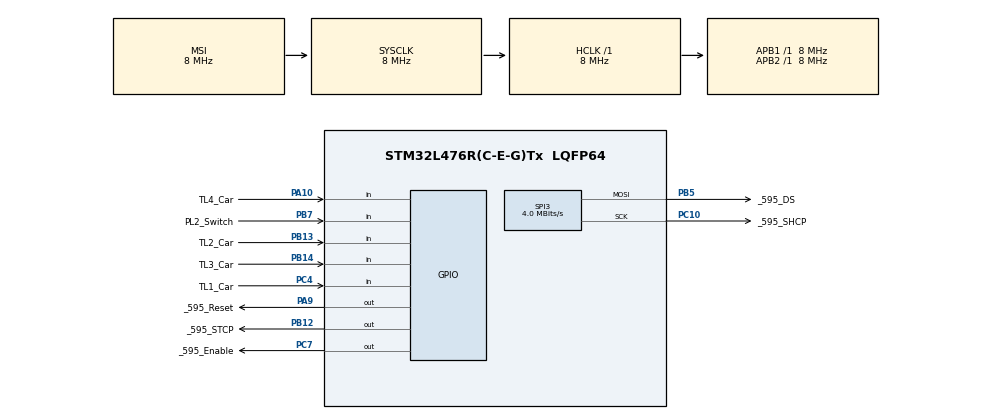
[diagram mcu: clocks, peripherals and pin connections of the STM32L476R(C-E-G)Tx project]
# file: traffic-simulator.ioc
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Mcu.Family=STM32L4
Mcu.Name=STM32L476R(C-E-G)Tx
Mcu.Package=LQFP64
NVIC.PriorityGroup=NVIC_PRIORITYGROUP_4
PA10.GPIO_Label=TL4_Car
PA10.Signal=GPIO_Input
PA13\ (JTMS-SWDIO).Mode=Serial_Wire
PA13\ (JTMS-SWDIO).Signal=SYS_JTMS-SWDIO
PA14\ (JTCK-SWCLK).Mode=Serial_Wire
PA14\ (JTCK-SWCLK).Signal=SYS_JTCK-SWCLK
PA9.GPIO_Label=_595_Reset
PA9.Signal=GPIO_Output
PB12.GPIO_Label=_595_STCP
PB12.Signal=GPIO_Output
PB13.GPIO_Label=TL2_Car
PB13.GPIO_PuPd=GPIO_NOPULL
PB13.Signal=GPIO_Input
PB14.GPIO_Label=TL3_Car
PB14.Signal=GPIO_Input
PB5.GPIO_Label=_595_DS
PB5.GPIO_Speed=GPIO_SPEED_FREQ_MEDIUM
PB5.Mode=TX_Only_Simplex_Unidirect_Master
PB5.Signal=SPI3_MOSI
PB7.GPIO_Label=PL2_Switch
PB7.GPIO_PuPd=GPIO_PULLUP
PB7.Signal=GPIO_Input
PC10.GPIO_Label=_595_SHCP
PC10.GPIO_Speed=GPIO_SPEED_FREQ_MEDIUM
PC10.Mode=TX_Only_Simplex_Unidirect_Master
PC10.Signal=SPI3_SCK
PC4.GPIO_Label=TL1_Car
PC4.GPIO_PuPd=GPIO_NOPULL
PC4.Signal=GPIO_Input
PC7.GPIO_Label=_595_Enable
PC7.Signal=GPIO_Output
PH0-OSC_IN\ (PH0).Mode=HSE-External-Oscillator
PH0-OSC_IN\ (PH0).Signal=RCC_OSC_IN
PH1-OSC_OUT\ (PH1).Mode=HSE-External-Oscillator
PH1-OSC_OUT\ (PH1).Signal=RCC_OSC_OUT
ProjectManager.HeapSize=0x200
ProjectManager.StackSize=0x400
ProjectManager.TargetToolchain=STM32CubeIDE
RCC.ADCFreq_Value=32000000
RCC.AHBFreq_Value=8000000
RCC.APB1Freq_Value=8000000
RCC.APB1TimFreq_Value=8000000
RCC.APB2Freq_Value=8000000
RCC.APB2TimFreq_Value=8000000
RCC.CortexFreq_Value=8000000
RCC.HCLKFreq_Value=8000000
RCC.HSE_VALUE=8000000
RCC.HSI_VALUE=16000000
RCC.LSE_VALUE=32768
RCC.MSIClockRange=RCC_MSIRANGE_7
RCC.MSI_VALUE=8000000
RCC.SYSCLKFreq_VALUE=8000000
RCC.USBFreq_Value=32000000
RCC.VCOOutputFreq_Value=64000000
SPI3.CalculateBaudRate=4.0 MBits/s
SPI3.Direction=SPI_DIRECTION_2LINES
SPI3.Mode=SPI_MODE_MASTER
SPI3.VirtualType=VM_MASTER
board=custom

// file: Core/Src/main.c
/* USER CODE BEGIN Header */
/**
  ******************************************************************************
  * @file           : main.c
  * @brief          : Main program body
  ******************************************************************************
  * @attention
  *
  * Copyright (c) 2025 STMicroelectronics.
  * All rights reserved.
  *
  * This software is licensed under terms that can be found in the LICENSE file
  * in the root directory of this software component.
  * If no LICENSE file comes with this software, it is provided AS-IS.
  *
  ******************************************************************************
  */
/* USER CODE END Header */
#include "main.h"
#include "spi.h"
#include "gpio.h"

/* USER CODE BEGIN Includes */
#include "stdbool.h"

#include "io_shield_func_tests.h"
#include "pedestrian_crossing.h"
#include "pedestrian_crossing_tests.h"
#include "intersection_control.h"
#include "intersection_control_tests.h"
/* USER CODE END Includes */

void SystemClock_Config(void);

int main(void)
{

  /* MCU Configuration--------------------------------------------------------*/

  /* Reset of all peripherals, Initializes the Flash interface and the Systick. */
  HAL_Init();

  /* Configure the system clock */
  SystemClock_Config();

  /* Initialize all configured peripherals */
  MX_GPIO_Init();
  MX_SPI3_Init();

  /* Infinite loop */
  /* USER CODE BEGIN WHILE */
  	int run_task = 0;
	int run_test = false;

  	switch(run_task){
  		case 0:
  			if(run_test) {
  				Run_IO_Shield_Func_Tests();
			}
  			break;
  		case 1:
  			if(run_test) {
  				Run_Pedestrian_Crossing_Tests();
  			} else {
  				Run_Pedestrian_Crossing();
  			}
  			break;
  		case 2:
			if(run_test) {
				Run_Intersection_Control_Tests();
			} else {
				Run_Intersection_Control();
			}
			break;
  		default:
  			break;
	}

  while (1)
  {
    /* USER CODE END WHILE */

  }
}

void SystemClock_Config(void)
{
  RCC_OscInitTypeDef RCC_OscInitStruct = {0};
  RCC_ClkInitTypeDef RCC_ClkInitStruct = {0};

  /** Configure the main internal regulator output voltage
  */
  if (HAL_PWREx_ControlVoltageScaling(PWR_REGULATOR_VOLTAGE_SCALE1) != HAL_OK)
  {
    Error_Handler();
  }

  /** Initializes the RCC Oscillators according to the specified parameters
  * in the RCC_OscInitTypeDef structure.
  */
  RCC_OscInitStruct.OscillatorType = RCC_OSCILLATORTYPE_MSI;
  RCC_OscInitStruct.MSIState = RCC_MSI_ON;
  RCC_OscInitStruct.MSICalibrationValue = 0;
  RCC_OscInitStruct.MSIClockRange = RCC_MSIRANGE_7;
  RCC_OscInitStruct.PLL.PLLState = RCC_PLL_NONE;
  if (HAL_RCC_OscConfig(&RCC_OscInitStruct) != HAL_OK)
  {
    Error_Handler();
  }

  /** Initializes the CPU, AHB and APB buses clocks
  */
  RCC_ClkInitStruct.ClockType = RCC_CLOCKTYPE_HCLK|RCC_CLOCKTYPE_SYSCLK
                              |RCC_CLOCKTYPE_PCLK1|RCC_CLOCKTYPE_PCLK2;
  RCC_ClkInitStruct.SYSCLKSource = RCC_SYSCLKSOURCE_MSI;
  RCC_ClkInitStruct.AHBCLKDivider = RCC_SYSCLK_DIV1;
  RCC_ClkInitStruct.APB1CLKDivider = RCC_HCLK_DIV1;
  RCC_ClkInitStruct.APB2CLKDivider = RCC_HCLK_DIV1;

  if (HAL_RCC_ClockConfig(&RCC_ClkInitStruct, FLASH_LATENCY_0) != HAL_OK)
  {
    Error_Handler();
  }
}

void Error_Handler(void)
{
  __disable_irq();
  while (1)
  {
  }
}
